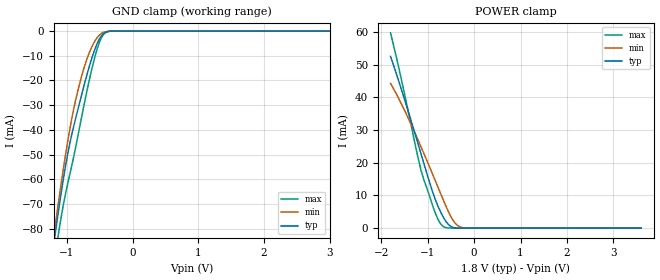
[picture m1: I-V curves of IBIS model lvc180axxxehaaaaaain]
| [Disclaimer] This IBIS source code is intended as a design reference
| which illustrates how the Lattice Semiconductor device operates.
| It is the user's responsibility to verify their design for
| consistency and functionality through the use of formal
| verification methods.  Lattice Semiconductor provides no warranty
| regarding the use or functionality of this data.
| [Copyright] Copyright 2007 by Lattice Semiconductor Corporation
| From BM_H13DSP_M_impl1.ibs, XO3L, Lattice Semiconductor Corp.
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[Model]   lvc180axxxehaaaaaain
Model_type   Input
Polarity   Non-Inverting
Enable   Active-Low
Vinl =   0.6300V
Vinh =   1.1700V
C_comp   4.2000pF   3.8000pF   7.5000pF
[Temperature Range]   25.0000   0.1250k   -40.0000
[Voltage Range]   1.8000V   1.7100V   1.8900V
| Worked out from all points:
|   GND clamp passes 1 mA (typ) near -0.44 V on its own axis
|   POWER clamp passes 1 mA (typ) near -0.54 V on its own axis
[GND_clamp]
|Voltage   I(typ)   I(min)   I(max)
-1.8V     -240.2mA   -229.4mA   -254.3mA
-1.2V     -86.16mA   -82.91mA   -94.88mA
-1.17V    -80.45mA   -77.09mA   -89.3mA
-1.11V    -69.45mA   -65.77mA   -78.87mA
-1.02V    -54.48mA   -49.86mA   -65.69mA
-930mV    -42.25mA   -35.9mA    -54.92mA
-780mV    -26.14mA   -18.58mA   -35.25mA
-690mV    -17.13mA   -10.87mA   -23.53mA
-570mV    -7.024mA   -3.834mA   -9.978mA
-450mV    -1.176mA   -584.6uA   -1.582mA
-300mV    -18.65uA   -15.9uA    -16.44uA
3.6V      0A         0A         0A
[POWER_clamp]
|Voltage   I(typ)   I(min)   I(max)
-1.8V     52.51mA    44.24mA    59.69mA
-1.68V    47.44mA    41.17mA    52.62mA
-1.5V     39.45mA    36.1mA     41.14mA
-1.26V    28.3mA     28.66mA    24.99mA
-1.14V    22.57mA    24.76mA    17.52mA
-840mV    8.928mA    14.66mA    4.779mA
-720mV    4.91mA     10.55mA    1.28mA
-660mV    3.265mA    8.507mA    435.9uA
-540mV    921.6uA    4.64mA     35.01uA
-420mV    115.2uA    1.718mA    2.184uA
-240mV    3.289uA    139.9uA    57.44nA
3.6V      -31nA      -27.04nA   -40.53nA
